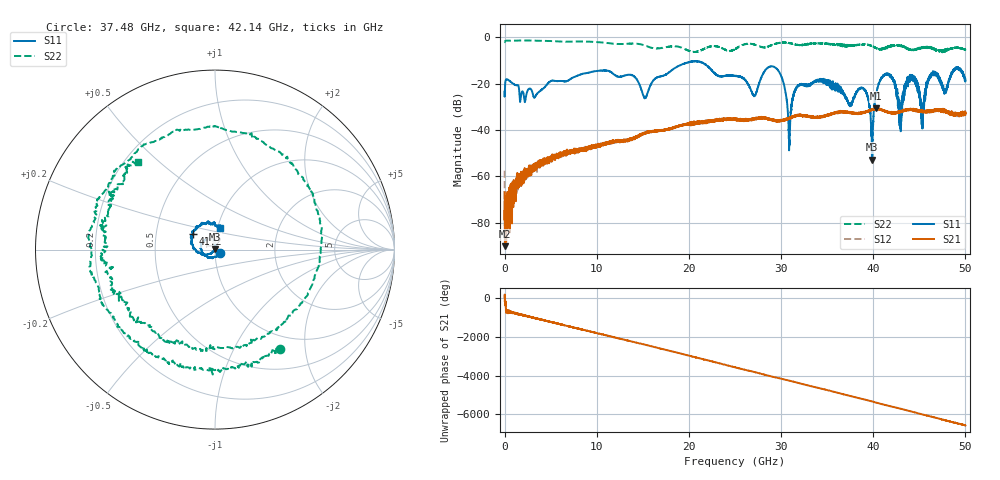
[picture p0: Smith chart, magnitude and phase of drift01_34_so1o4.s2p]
!Created with skrf (http://scikit-rf.org).
# Hz S RI R 50.0
!freq ReS11 ImS11 ReS21 ImS21 ReS12 ImS12 ReS22 ImS22
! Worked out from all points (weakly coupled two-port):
!   10001 points, 300 kHz to 50 GHz, reference 50 ohm
!   highest |S21| = -30.57 dB at 40.3 GHz (marker M1); lowest = -90.1 dB at 35.3 MHz (marker M2)
!   lowest |S11| = -52.7 dB at 39.86 GHz (marker M3), VSWR 1.00, Z = 49.9 + j0.197 ohm
!   |S11| at or under -10 dB: start of sweep to end of sweep
!   |S22| runs from -6.5 to -1.4 dB; largest |S21 - S12| = 0.004
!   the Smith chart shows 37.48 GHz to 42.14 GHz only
!   S11 on the Smith chart (normalised r, x): 37.48 GHz: 1.06, -0.04; 41.2 GHz: 0.77, +0.14; 42.14 GHz: 1.03, +0.25
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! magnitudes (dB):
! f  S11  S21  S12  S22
! 300 kHz  -23.5  -66.8  -57.5  -2.1
! 35.3 MHz  -21.9  -90.1  -74.2  -1.8
! 8.335 GHz  -15.9  -48.5  -48.1  -1.8
! 16.67 GHz  -17.1  -40.5  -40.4  -4.8
! 25 GHz  -16.6  -35.4  -35.3  -5.1
! 27.1 GHz  -25.3  -35.2  -35.3  -3.1
! 29.43 GHz  -13.2  -35.9  -35.9  -2.8
! 30.91 GHz  -45.6  -34.9  -34.7  -2.5
! 31.64 GHz  -21.8  -33.9  -33.6  -3.1
! 33.34 GHz  -19.8  -34.5  -34.4  -2.7
! 37.48 GHz  -29.3  -32.7  -32.6  -3.6
! 38.97 GHz  -22.2  -32.1  -32.4  -3.2
! 39.86 GHz  -52.7  -31.3  -31.2  -3.7
! 40.3 GHz  -24.9  -30.6  -30.9  -4.6
! 41.2 GHz  -16.5  -31.6  -31.6  -4.7
! 41.67 GHz  -16.2  -32.4  -32.4  -4.2
! 42.14 GHz  -18.3  -32.9  -32.6  -3.8
! 42.92 GHz  -38.3  -32.1  -32.1  -3.6
! 44.07 GHz  -16.9  -31.2  -31.1  -5.3
! 45.32 GHz  -34.2  -31.9  -31.7  -4.6
! 46.41 GHz  -15.2  -31.7  -31.6  -4.6
! 50 GHz  -18.2  -33.3  -32.8  -5.3
